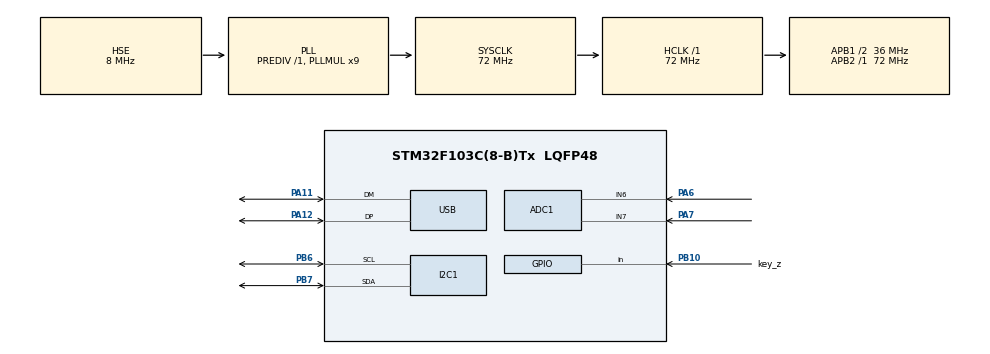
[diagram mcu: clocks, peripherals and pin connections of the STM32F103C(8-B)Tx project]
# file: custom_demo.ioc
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ADC1.Channel-0\#ChannelRegularConversion=ADC_CHANNEL_6
ADC1.Channel-1\#ChannelRegularConversion=ADC_CHANNEL_7
ADC1.ContinuousConvMode=ENABLE
ADC1.NbrOfConversion=2
ADC1.NbrOfConversionFlag=1
ADC1.Rank-0\#ChannelRegularConversion=1
ADC1.Rank-1\#ChannelRegularConversion=2
ADC1.SamplingTime-0\#ChannelRegularConversion=ADC_SAMPLETIME_239CYCLES_5
ADC1.SamplingTime-1\#ChannelRegularConversion=ADC_SAMPLETIME_239CYCLES_5
ADC1.master=1
Dma.ADC1.0.Direction=DMA_PERIPH_TO_MEMORY
Dma.ADC1.0.Instance=DMA1_Channel1
Dma.ADC1.0.MemDataAlignment=DMA_MDATAALIGN_WORD
Dma.ADC1.0.MemInc=DMA_MINC_ENABLE
Dma.ADC1.0.Mode=DMA_CIRCULAR
Dma.ADC1.0.PeriphDataAlignment=DMA_PDATAALIGN_WORD
Dma.ADC1.0.PeriphInc=DMA_PINC_DISABLE
Dma.ADC1.0.Priority=DMA_PRIORITY_LOW
Dma.Request0=ADC1
FREERTOS.Tasks01=defaultTask,0,128,StartDefaultTask,Default,NULL,Dynamic,NULL,NULL
I2C1.I2C_Mode=I2C_Fast
Mcu.Family=STM32F1
Mcu.Name=STM32F103C(8-B)Tx
Mcu.Package=LQFP48
NVIC.DMA1_Channel1_IRQn=true\:5\:0\:false\:false\:true\:true\:false\:true\:true
NVIC.PriorityGroup=NVIC_PRIORITYGROUP_4
NVIC.TIM2_IRQn=true\:15\:0\:false\:false\:true\:false\:false\:true\:true
NVIC.TimeBase=TIM2_IRQn
NVIC.TimeBaseIP=TIM2
NVIC.USB_LP_CAN1_RX0_IRQn=true\:5\:0\:false\:false\:true\:true\:false\:true\:true
PA11.Mode=Device
PA11.Signal=USB_DM
PA12.Mode=Device
PA12.Signal=USB_DP
PA13.Mode=Serial_Wire
PA13.Signal=SYS_JTMS-SWDIO
PA14.Mode=Serial_Wire
PA14.Signal=SYS_JTCK-SWCLK
PA6.Signal=ADCx_IN6
PA7.Signal=ADCx_IN7
PB10.GPIO_Label=key_z
PB10.GPIO_PuPd=GPIO_PULLUP
PB10.Signal=GPIO_Input
PB6.Mode=I2C
PB6.Signal=I2C1_SCL
PB7.Mode=I2C
PB7.Signal=I2C1_SDA
PD0-OSC_IN.Mode=HSE-External-Oscillator
PD0-OSC_IN.Signal=RCC_OSC_IN
PD1-OSC_OUT.Mode=HSE-External-Oscillator
PD1-OSC_OUT.Signal=RCC_OSC_OUT
ProjectManager.HeapSize=0x200
ProjectManager.StackSize=0x400
ProjectManager.TargetToolchain=CMake
RCC.ADCPresc=RCC_ADCPCLK2_DIV6
RCC.AHBFreq_Value=72000000
RCC.APB1CLKDivider=RCC_HCLK_DIV2
RCC.APB1Freq_Value=36000000
RCC.APB1TimFreq_Value=72000000
RCC.APB2Freq_Value=72000000
RCC.APB2TimFreq_Value=72000000
RCC.HCLKFreq_Value=72000000
RCC.PLLMUL=RCC_PLL_MUL9
RCC.PLLSourceVirtual=RCC_PLLSOURCE_HSE
RCC.SYSCLKFreq_VALUE=72000000
RCC.SYSCLKSource=RCC_SYSCLKSOURCE_PLLCLK
RCC.USBFreq_Value=48000000
RCC.USBPrescaler=RCC_USBCLKSOURCE_PLL_DIV1_5
SH.ADCx_IN6.0=ADC1_IN6,IN6
SH.ADCx_IN7.0=ADC1_IN7,IN7
STMicroelectronics.X-CUBE-ALGOBUILD.1.4.0.LibraryCcDSPOoLibraryJjDSPOoLibrary=true
USB_DEVICE.CLASS_NAME_FS=CDC
USB_DEVICE.VirtualMode=Cdc
USB_DEVICE.VirtualModeFS=Cdc_FS
VP_FREERTOS_VS_CMSIS_V1.Mode=CMSIS_V1
VP_STMicroelectronics.X-CUBE-ALGOBUILD_VS_DSPOoLibraryJjLibrary_1.4.0_1.4.0.Mode=DSPOoLibraryJjLibrary
VP_SYS_VS_tim2.Mode=TIM2
VP_USB_DEVICE_VS_USB_DEVICE_CDC_FS.Mode=CDC_FS
board=custom

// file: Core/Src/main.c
/* USER CODE BEGIN Header */
/**
  ******************************************************************************
  * @file           : main.c
  * @brief          : Main program body
  ******************************************************************************
  * @attention
  *
  * Copyright (c) 2026 STMicroelectronics.
  * All rights reserved.
  *
  * This software is licensed under terms that can be found in the LICENSE file
  * in the root directory of this software component.
  * If no LICENSE file comes with this software, it is provided AS-IS.
  *
  ******************************************************************************
  */
/* USER CODE END Header */
#include "main.h"
#include "cmsis_os.h"
#include "adc.h"
#include "dma.h"
#include "i2c.h"
#include "usb_device.h"
#include "gpio.h"

void SystemClock_Config(void);
void MX_FREERTOS_Init(void);

/* USER CODE BEGIN 0 */
void USB_Status_Init(void)
{
    GPIO_InitTypeDef GPIO_InitStruct = {0};

  /* GPIO Ports Clock Enable */
      __HAL_RCC_GPIOA_CLK_ENABLE();

      /*Configure GPIO pin Output Level */
      HAL_GPIO_WritePin(GPIOA, GPIO_PIN_11|GPIO_PIN_12, GPIO_PIN_RESET);

  /*Configure GPIO pin : PA11 PA12 */
      GPIO_InitStruct.Pin = GPIO_PIN_11|GPIO_PIN_12;
      GPIO_InitStruct.Mode = GPIO_MODE_OUTPUT_PP;
      GPIO_InitStruct.Pull = GPIO_NOPULL;
      GPIO_InitStruct.Speed = GPIO_SPEED_FREQ_LOW;
      HAL_GPIO_Init(GPIOA, &GPIO_InitStruct);

    HAL_Delay(10);
}
/* USER CODE END 0 */

int main(void)
{

  /* MCU Configuration--------------------------------------------------------*/

  /* Reset of all peripherals, Initializes the Flash interface and the Systick. */
  HAL_Init();

  /* Configure the system clock */
  SystemClock_Config();

  /* USER CODE BEGIN SysInit */
  USB_Status_Init();
  /* USER CODE END SysInit */

  /* Initialize all configured peripherals */
  MX_GPIO_Init();
  MX_DMA_Init();
  MX_ADC1_Init();
  MX_I2C1_Init();

  /* Call init function for freertos objects (in cmsis_os2.c) */
  MX_FREERTOS_Init();

  /* Start scheduler */
  osKernelStart();

  /* We should never get here as control is now taken by the scheduler */

  /* Infinite loop */
  while (1)
  {

  }
}

void SystemClock_Config(void)
{
  RCC_OscInitTypeDef RCC_OscInitStruct = {0};
  RCC_ClkInitTypeDef RCC_ClkInitStruct = {0};
  RCC_PeriphCLKInitTypeDef PeriphClkInit = {0};

  /** Initializes the RCC Oscillators according to the specified parameters
  * in the RCC_OscInitTypeDef structure.
  */
  RCC_OscInitStruct.OscillatorType = RCC_OSCILLATORTYPE_HSE;
  RCC_OscInitStruct.HSEState = RCC_HSE_ON;
  RCC_OscInitStruct.HSEPredivValue = RCC_HSE_PREDIV_DIV1;
  RCC_OscInitStruct.HSIState = RCC_HSI_ON;
  RCC_OscInitStruct.PLL.PLLState = RCC_PLL_ON;
  RCC_OscInitStruct.PLL.PLLSource = RCC_PLLSOURCE_HSE;
  RCC_OscInitStruct.PLL.PLLMUL = RCC_PLL_MUL9;
  if (HAL_RCC_OscConfig(&RCC_OscInitStruct) != HAL_OK)
  {
    Error_Handler();
  }

  /** Initializes the CPU, AHB and APB buses clocks
  */
  RCC_ClkInitStruct.ClockType = RCC_CLOCKTYPE_HCLK|RCC_CLOCKTYPE_SYSCLK
                              |RCC_CLOCKTYPE_PCLK1|RCC_CLOCKTYPE_PCLK2;
  RCC_ClkInitStruct.SYSCLKSource = RCC_SYSCLKSOURCE_PLLCLK;
  RCC_ClkInitStruct.AHBCLKDivider = RCC_SYSCLK_DIV1;
  RCC_ClkInitStruct.APB1CLKDivider = RCC_HCLK_DIV2;
  RCC_ClkInitStruct.APB2CLKDivider = RCC_HCLK_DIV1;

  if (HAL_RCC_ClockConfig(&RCC_ClkInitStruct, FLASH_LATENCY_2) != HAL_OK)
  {
    Error_Handler();
  }
  PeriphClkInit.PeriphClockSelection = RCC_PERIPHCLK_ADC|RCC_PERIPHCLK_USB;
  PeriphClkInit.AdcClockSelection = RCC_ADCPCLK2_DIV6;
  PeriphClkInit.UsbClockSelection = RCC_USBCLKSOURCE_PLL_DIV1_5;
  if (HAL_RCCEx_PeriphCLKConfig(&PeriphClkInit) != HAL_OK)
  {
    Error_Handler();
  }
}

void HAL_TIM_PeriodElapsedCallback(TIM_HandleTypeDef *htim)
{
  if (htim->Instance == TIM2)
  {
    HAL_IncTick();
  }
}

void Error_Handler(void)
{
  __disable_irq();
  while (1)
  {
  }
}

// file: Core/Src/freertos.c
/* USER CODE BEGIN Header */
/**
  ******************************************************************************
  * File Name          : freertos.c
  * Description        : Code for freertos applications
  ******************************************************************************
  * @attention
  *
  * Copyright (c) 2026 STMicroelectronics.
  * All rights reserved.
  *
  * This software is licensed under terms that can be found in the LICENSE file
  * in the root directory of this software component.
  * If no LICENSE file comes with this software, it is provided AS-IS.
  *
  ******************************************************************************
  */
/* USER CODE END Header */

#include "FreeRTOS.h"
#include "task.h"
#include "main.h"
#include "cmsis_os.h"

/* USER CODE BEGIN Includes */
#include "IMUtasks.h"
#include "TranslateTask.h"
#include "MoveAttitudeTask.h"
/* USER CODE END Includes */

osThreadId defaultTaskHandle;

/* USER CODE BEGIN FunctionPrototypes */
osThreadId IMUTaskHandle;
osThreadId TranslateTaskHandle;
osThreadId MoveAttitudeTaskHandle;
/* USER CODE END FunctionPrototypes */

void StartDefaultTask(void const * argument);

extern void MX_USB_DEVICE_Init(void);
void MX_FREERTOS_Init(void); /* (MISRA C 2004 rule 8.1) */

/* GetIdleTaskMemory prototype (linked to static allocation support) */
void vApplicationGetIdleTaskMemory( StaticTask_t **ppxIdleTaskTCBBuffer, StackType_t **ppxIdleTaskStackBuffer, uint32_t *pulIdleTaskStackSize );

/* USER CODE BEGIN GET_IDLE_TASK_MEMORY */
static StaticTask_t xIdleTaskTCBBuffer;
static StackType_t xIdleStack[configMINIMAL_STACK_SIZE];

void vApplicationGetIdleTaskMemory( StaticTask_t **ppxIdleTaskTCBBuffer, StackType_t **ppxIdleTaskStackBuffer, uint32_t *pulIdleTaskStackSize )
{
  *ppxIdleTaskTCBBuffer = &xIdleTaskTCBBuffer;
  *ppxIdleTaskStackBuffer = &xIdleStack[0];
  *pulIdleTaskStackSize = configMINIMAL_STACK_SIZE;
  /* place for user code */
}
/* USER CODE END GET_IDLE_TASK_MEMORY */

void MX_FREERTOS_Init(void) {

  /* Create the thread(s) */
  /* definition and creation of defaultTask */
  osThreadDef(defaultTask, StartDefaultTask, osPriorityNormal, 0, 128);
  defaultTaskHandle = osThreadCreate(osThread(defaultTask), NULL);

  /* USER CODE BEGIN RTOS_THREADS */
  /* add threads, ... */
   osThreadDef(IMUTask, imuTask, osPriorityNormal, 0, 512);
  IMUTaskHandle = osThreadCreate(osThread(IMUTask), NULL);

  osThreadDef(TranslateTask, translateTask, osPriorityNormal, 0, 256);
  TranslateTaskHandle = osThreadCreate(osThread(TranslateTask), NULL);

  osThreadDef(MoveAttitudeTask, moveAttitudeTask, osPriorityNormal, 0, 256);
  MoveAttitudeTaskHandle = osThreadCreate(osThread(MoveAttitudeTask), NULL);
  /* USER CODE END RTOS_THREADS */

}

void StartDefaultTask(void const * argument)
{
  /* init code for USB_DEVICE */
  MX_USB_DEVICE_Init();
  for(;;)
  {
    osDelay(1);
  }
}
